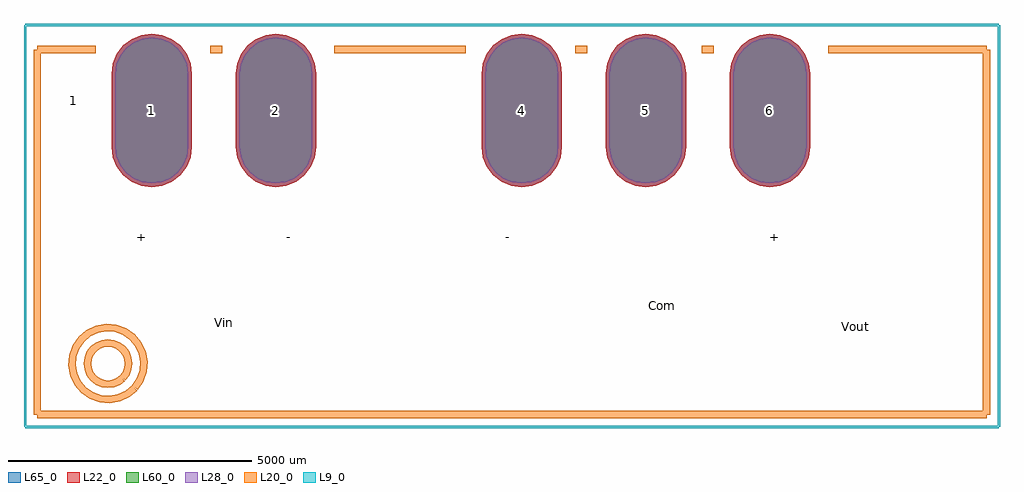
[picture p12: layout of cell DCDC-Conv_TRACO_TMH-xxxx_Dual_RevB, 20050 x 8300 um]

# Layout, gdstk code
import gdstk
lib = gdstk.Library(unit=1e-6, precision=1e-09)
def P(c, l, *ps):  # polygons
    for p in ps: c.add(gdstk.Polygon(p, *l))
L9_0 = (9, 0)
L20_0 = (20, 0)
L22_0 = (22, 0)
L28_0 = (28, 0)
L60_0 = (60, 0)
L65_0 = (65, 0)

dcdc_conv_traco_tmh_xxxx = lib.new_cell('DCDC-Conv_TRACO_TMH-xxxx_Dual_RevB')
P(dcdc_conv_traco_tmh_xxxx, L22_0, [(12700,-1574.87),(12913.673,-1546.739),(13112.785,-1464.265),(13283.766,-1333.066),(13414.965,-1162.085),(13497.439,-962.973),(13525.57,-749.3),(13525.57,749.3),(13497.439,962.973),(13414.965,1162.085),(13283.766,1333.066),(13112.785,1464.265),(12913.673,1546.739),(12700,1574.87),(12486.327,1546.739),(12287.215,1464.265),(12116.234,1333.066),(11985.035,1162.085),(11902.561,962.973),(11874.43,749.3),(11874.43,-749.3),(11902.561,-962.973),(11985.035,-1162.085),(12116.234,-1333.066),(12287.215,-1464.265),(12486.327,-1546.739)],
  [(10149.8,-1574.87),(10363.473,-1546.739),(10562.585,-1464.265),(10733.566,-1333.066),(10864.765,-1162.085),(10947.239,-962.973),(10975.37,-749.3),(10975.37,749.3),(10947.239,962.973),(10864.765,1162.085),(10733.566,1333.066),(10562.585,1464.265),(10363.473,1546.739),(10149.8,1574.87),(9936.127,1546.739),(9737.015,1464.265),(9566.034,1333.066),(9434.835,1162.085),(9352.361,962.973),(9324.23,749.3),(9324.23,-749.3),(9352.361,-962.973),(9434.835,-1162.085),(9566.034,-1333.066),(9737.015,-1464.265),(9936.127,-1546.739)],
  [(7599.68,-1574.87),(7813.353,-1546.739),(8012.465,-1464.265),(8183.446,-1333.066),(8314.645,-1162.085),(8397.119,-962.973),(8425.25,-749.3),(8425.25,749.3),(8397.119,962.973),(8314.645,1162.085),(8183.446,1333.066),(8012.465,1464.265),(7813.353,1546.739),(7599.68,1574.87),(7386.007,1546.739),(7186.895,1464.265),(7015.914,1333.066),(6884.715,1162.085),(6802.241,962.973),(6774.11,749.3),(6774.11,-749.3),(6802.241,-962.973),(6884.715,-1162.085),(7015.914,-1333.066),(7186.895,-1464.265),(7386.007,-1546.739)],
  [(2550.16,-1574.87),(2763.833,-1546.739),(2962.945,-1464.265),(3133.926,-1333.066),(3265.125,-1162.085),(3347.599,-962.973),(3375.73,-749.3),(3375.73,749.3),(3347.599,962.973),(3265.125,1162.085),(3133.926,1333.066),(2962.945,1464.265),(2763.833,1546.739),(2550.16,1574.87),(2336.487,1546.739),(2137.375,1464.265),(1966.394,1333.066),(1835.195,1162.085),(1752.721,962.973),(1724.59,749.3),(1724.59,-749.3),(1752.721,-962.973),(1835.195,-1162.085),(1966.394,-1333.066),(2137.375,-1464.265),(2336.487,-1546.739)],
  [(0,-1574.87),(213.673,-1546.739),(412.785,-1464.265),(583.766,-1333.066),(714.965,-1162.085),(797.439,-962.973),(825.57,-749.3),(825.57,749.3),(797.439,962.973),(714.965,1162.085),(583.766,1333.066),(412.785,1464.265),(213.673,1546.739),(0,1574.87),(-213.673,1546.739),(-412.785,1464.265),(-583.766,1333.066),(-714.965,1162.085),(-797.439,962.973),(-825.57,749.3),(-825.57,-749.3),(-797.439,-962.973),(-714.965,-1162.085),(-583.766,-1333.066),(-412.785,-1464.265),(-213.673,-1546.739)])
P(dcdc_conv_traco_tmh_xxxx, L28_0, [(12700,-1499.87),(12894.262,-1474.295),(13075.285,-1399.313),(13230.733,-1280.033),(13350.013,-1124.585),(13424.995,-943.562),(13450.57,-749.3),(13450.57,749.3),(13424.995,943.562),(13350.013,1124.585),(13230.733,1280.033),(13075.285,1399.313),(12894.262,1474.295),(12700,1499.87),(12505.738,1474.295),(12324.715,1399.313),(12169.267,1280.033),(12049.987,1124.585),(11975.005,943.562),(11949.43,749.3),(11949.43,-749.3),(11975.005,-943.562),(12049.987,-1124.585),(12169.267,-1280.033),(12324.715,-1399.313),(12505.738,-1474.295)],
  [(10149.8,-1499.87),(10344.062,-1474.295),(10525.085,-1399.313),(10680.533,-1280.033),(10799.813,-1124.585),(10874.795,-943.562),(10900.37,-749.3),(10900.37,749.3),(10874.795,943.562),(10799.813,1124.585),(10680.533,1280.033),(10525.085,1399.313),(10344.062,1474.295),(10149.8,1499.87),(9955.538,1474.295),(9774.515,1399.313),(9619.067,1280.033),(9499.787,1124.585),(9424.805,943.562),(9399.23,749.3),(9399.23,-749.3),(9424.805,-943.562),(9499.787,-1124.585),(9619.067,-1280.033),(9774.515,-1399.313),(9955.538,-1474.295)],
  [(7599.68,-1499.87),(7793.942,-1474.295),(7974.965,-1399.313),(8130.413,-1280.033),(8249.693,-1124.585),(8324.675,-943.562),(8350.25,-749.3),(8350.25,749.3),(8324.675,943.562),(8249.693,1124.585),(8130.413,1280.033),(7974.965,1399.313),(7793.942,1474.295),(7599.68,1499.87),(7405.418,1474.295),(7224.395,1399.313),(7068.947,1280.033),(6949.667,1124.585),(6874.685,943.562),(6849.11,749.3),(6849.11,-749.3),(6874.685,-943.562),(6949.667,-1124.585),(7068.947,-1280.033),(7224.395,-1399.313),(7405.418,-1474.295)],
  [(2550.16,-1499.87),(2744.422,-1474.295),(2925.445,-1399.313),(3080.893,-1280.033),(3200.173,-1124.585),(3275.155,-943.562),(3300.73,-749.3),(3300.73,749.3),(3275.155,943.562),(3200.173,1124.585),(3080.893,1280.033),(2925.445,1399.313),(2744.422,1474.295),(2550.16,1499.87),(2355.898,1474.295),(2174.875,1399.313),(2019.427,1280.033),(1900.147,1124.585),(1825.165,943.562),(1799.59,749.3),(1799.59,-749.3),(1825.165,-943.562),(1900.147,-1124.585),(2019.427,-1280.033),(2174.875,-1399.313),(2355.898,-1474.295)],
  [(0,-1499.87),(194.262,-1474.295),(375.285,-1399.313),(530.733,-1280.033),(650.013,-1124.585),(724.995,-943.562),(750.57,-749.3),(750.57,749.3),(724.995,943.562),(650.013,1124.585),(530.733,1280.033),(375.285,1399.313),(194.262,1474.295),(0,1499.87),(-194.262,1474.295),(-375.285,1399.313),(-530.733,1280.033),(-650.013,1124.585),(-724.995,943.562),(-750.57,749.3),(-750.57,-749.3),(-724.995,-943.562),(-650.013,-1124.585),(-530.733,-1280.033),(-375.285,-1399.313),(-194.262,-1474.295)])
P(dcdc_conv_traco_tmh_xxxx, L60_0, [(12700,-1499.87),(12894.262,-1474.295),(13075.285,-1399.313),(13230.733,-1280.033),(13350.013,-1124.585),(13424.995,-943.562),(13450.57,-749.3),(13450.57,749.3),(13424.995,943.562),(13350.013,1124.585),(13230.733,1280.033),(13075.285,1399.313),(12894.262,1474.295),(12700,1499.87),(12505.738,1474.295),(12324.715,1399.313),(12169.267,1280.033),(12049.987,1124.585),(11975.005,943.562),(11949.43,749.3),(11949.43,-749.3),(11975.005,-943.562),(12049.987,-1124.585),(12169.267,-1280.033),(12324.715,-1399.313),(12505.738,-1474.295)],
  [(10149.8,-1499.87),(10344.062,-1474.295),(10525.085,-1399.313),(10680.533,-1280.033),(10799.813,-1124.585),(10874.795,-943.562),(10900.37,-749.3),(10900.37,749.3),(10874.795,943.562),(10799.813,1124.585),(10680.533,1280.033),(10525.085,1399.313),(10344.062,1474.295),(10149.8,1499.87),(9955.538,1474.295),(9774.515,1399.313),(9619.067,1280.033),(9499.787,1124.585),(9424.805,943.562),(9399.23,749.3),(9399.23,-749.3),(9424.805,-943.562),(9499.787,-1124.585),(9619.067,-1280.033),(9774.515,-1399.313),(9955.538,-1474.295)],
  [(7599.68,-1499.87),(7793.942,-1474.295),(7974.965,-1399.313),(8130.413,-1280.033),(8249.693,-1124.585),(8324.675,-943.562),(8350.25,-749.3),(8350.25,749.3),(8324.675,943.562),(8249.693,1124.585),(8130.413,1280.033),(7974.965,1399.313),(7793.942,1474.295),(7599.68,1499.87),(7405.418,1474.295),(7224.395,1399.313),(7068.947,1280.033),(6949.667,1124.585),(6874.685,943.562),(6849.11,749.3),(6849.11,-749.3),(6874.685,-943.562),(6949.667,-1124.585),(7068.947,-1280.033),(7224.395,-1399.313),(7405.418,-1474.295)],
  [(2550.16,-1499.87),(2744.422,-1474.295),(2925.445,-1399.313),(3080.893,-1280.033),(3200.173,-1124.585),(3275.155,-943.562),(3300.73,-749.3),(3300.73,749.3),(3275.155,943.562),(3200.173,1124.585),(3080.893,1280.033),(2925.445,1399.313),(2744.422,1474.295),(2550.16,1499.87),(2355.898,1474.295),(2174.875,1399.313),(2019.427,1280.033),(1900.147,1124.585),(1825.165,943.562),(1799.59,749.3),(1799.59,-749.3),(1825.165,-943.562),(1900.147,-1124.585),(2019.427,-1280.033),(2174.875,-1399.313),(2355.898,-1474.295)],
  [(0,-1499.87),(194.262,-1474.295),(375.285,-1399.313),(530.733,-1280.033),(650.013,-1124.585),(724.995,-943.562),(750.57,-749.3),(750.57,749.3),(724.995,943.562),(650.013,1124.585),(530.733,1280.033),(375.285,1399.313),(194.262,1474.295),(0,1499.87),(-194.262,1474.295),(-375.285,1399.313),(-530.733,1280.033),(-650.013,1124.585),(-724.995,943.562),(-750.57,749.3),(-750.57,-749.3),(-724.995,-943.562),(-650.013,-1124.585),(-530.733,-1280.033),(-375.285,-1399.313),(-194.262,-1474.295)])
P(dcdc_conv_traco_tmh_xxxx, L65_0, [(12700,-1574.87),(12913.673,-1546.739),(13112.785,-1464.265),(13283.766,-1333.066),(13414.965,-1162.085),(13497.439,-962.973),(13525.57,-749.3),(13525.57,749.3),(13497.439,962.973),(13414.965,1162.085),(13283.766,1333.066),(13112.785,1464.265),(12913.673,1546.739),(12700,1574.87),(12486.327,1546.739),(12287.215,1464.265),(12116.234,1333.066),(11985.035,1162.085),(11902.561,962.973),(11874.43,749.3),(11874.43,-749.3),(11902.561,-962.973),(11985.035,-1162.085),(12116.234,-1333.066),(12287.215,-1464.265),(12486.327,-1546.739)],
  [(10149.8,-1574.87),(10363.473,-1546.739),(10562.585,-1464.265),(10733.566,-1333.066),(10864.765,-1162.085),(10947.239,-962.973),(10975.37,-749.3),(10975.37,749.3),(10947.239,962.973),(10864.765,1162.085),(10733.566,1333.066),(10562.585,1464.265),(10363.473,1546.739),(10149.8,1574.87),(9936.127,1546.739),(9737.015,1464.265),(9566.034,1333.066),(9434.835,1162.085),(9352.361,962.973),(9324.23,749.3),(9324.23,-749.3),(9352.361,-962.973),(9434.835,-1162.085),(9566.034,-1333.066),(9737.015,-1464.265),(9936.127,-1546.739)],
  [(7599.68,-1574.87),(7813.353,-1546.739),(8012.465,-1464.265),(8183.446,-1333.066),(8314.645,-1162.085),(8397.119,-962.973),(8425.25,-749.3),(8425.25,749.3),(8397.119,962.973),(8314.645,1162.085),(8183.446,1333.066),(8012.465,1464.265),(7813.353,1546.739),(7599.68,1574.87),(7386.007,1546.739),(7186.895,1464.265),(7015.914,1333.066),(6884.715,1162.085),(6802.241,962.973),(6774.11,749.3),(6774.11,-749.3),(6802.241,-962.973),(6884.715,-1162.085),(7015.914,-1333.066),(7186.895,-1464.265),(7386.007,-1546.739)],
  [(2550.16,-1574.87),(2763.833,-1546.739),(2962.945,-1464.265),(3133.926,-1333.066),(3265.125,-1162.085),(3347.599,-962.973),(3375.73,-749.3),(3375.73,749.3),(3347.599,962.973),(3265.125,1162.085),(3133.926,1333.066),(2962.945,1464.265),(2763.833,1546.739),(2550.16,1574.87),(2336.487,1546.739),(2137.375,1464.265),(1966.394,1333.066),(1835.195,1162.085),(1752.721,962.973),(1724.59,749.3),(1724.59,-749.3),(1752.721,-962.973),(1835.195,-1162.085),(1966.394,-1333.066),(2137.375,-1464.265),(2336.487,-1546.739)],
  [(0,-1574.87),(213.673,-1546.739),(412.785,-1464.265),(583.766,-1333.066),(714.965,-1162.085),(797.439,-962.973),(825.57,-749.3),(825.57,749.3),(797.439,962.973),(714.965,1162.085),(583.766,1333.066),(412.785,1464.265),(213.673,1546.739),(0,1574.87),(-213.673,1546.739),(-412.785,1464.265),(-583.766,1333.066),(-714.965,1162.085),(-797.439,962.973),(-825.57,749.3),(-825.57,-749.3),(-797.439,-962.973),(-714.965,-1162.085),(-583.766,-1333.066),(-412.785,-1464.265),(-213.673,-1546.739)])
dcdc_conv_traco_tmh_xxxx.add(gdstk.FlexPath([(-2352.04,1249.68),(-2352.04,-6248.4)], 149.998, ends="flush", simple_path=True, layer=20, datatype=0))  # L20_0
dcdc_conv_traco_tmh_xxxx.add(gdstk.FlexPath([(17150.1,-6248.4),(17150.1,1249.68)], 149.998, ends="flush", simple_path=True, layer=20, datatype=0))  # L20_0
dcdc_conv_traco_tmh_xxxx.add(gdstk.FlexPath([(-2352.04,-6248.4),(17150.1,-6248.4)], 149.998, ends="flush", simple_path=True, layer=20, datatype=0))  # L20_0
dcdc_conv_traco_tmh_xxxx.add(gdstk.FlexPath([(17150.1,1249.68),(13898.9,1249.68)], 149.998, ends="flush", simple_path=True, layer=20, datatype=0))  # L20_0
dcdc_conv_traco_tmh_xxxx.add(gdstk.FlexPath([(11549.4,1249.68),(11297.9,1249.68)], 149.998, ends="flush", simple_path=True, layer=20, datatype=0))  # L20_0
dcdc_conv_traco_tmh_xxxx.add(gdstk.FlexPath([(8948.42,1249.68),(8699.5,1249.68)], 149.998, ends="flush", simple_path=True, layer=20, datatype=0))  # L20_0
dcdc_conv_traco_tmh_xxxx.add(gdstk.FlexPath([(6449.06,1249.68),(3749.04,1249.68)], 149.998, ends="flush", simple_path=True, layer=20, datatype=0))  # L20_0
dcdc_conv_traco_tmh_xxxx.add(gdstk.FlexPath([(1447.8,1249.68),(1198.88,1249.68)], 149.998, ends="flush", simple_path=True, layer=20, datatype=0))  # L20_0
dcdc_conv_traco_tmh_xxxx.add(gdstk.FlexPath([(-1150.62,1249.68),(-2352.04,1249.68)], 149.998, ends="flush", simple_path=True, layer=20, datatype=0))  # L20_0
dcdc_conv_traco_tmh_xxxx.add(gdstk.FlexPath([(-2600,-6500),(17400,-6500)], 50, ends="flush", simple_path=True, layer=9, datatype=0))  # L9_0
dcdc_conv_traco_tmh_xxxx.add(gdstk.FlexPath([(-2600,1750),(17400,1750)], 50, ends="flush", simple_path=True, layer=9, datatype=0))  # L9_0
dcdc_conv_traco_tmh_xxxx.add(gdstk.FlexPath([(17400,1750),(17400,-6500)], 50, ends="flush", simple_path=True, layer=9, datatype=0))  # L9_0
dcdc_conv_traco_tmh_xxxx.add(gdstk.FlexPath([(-2600,1750),(-2600,-6500)], 50, ends="flush", simple_path=True, layer=9, datatype=0))  # L9_0
dcdc_conv_traco_tmh_xxxx.add(gdstk.FlexPath([(-350.86,-5698.8),(-240.704,-5539.838),(-175.444,-5357.782),(-159.527,-5165.039),(-194.038,-4974.744),(-276.625,-4799.865),(-401.66,-4652.32),(-560.622,-4542.164),(-742.678,-4476.904),(-935.421,-4460.987),(-1125.716,-4495.498),(-1300.595,-4578.085),(-1448.14,-4703.12),(-1558.296,-4862.082),(-1623.556,-5044.138),(-1639.473,-5236.881),(-1604.962,-5427.176),(-1522.375,-5602.055),(-1397.34,-5749.6),(-1238.378,-5859.756),(-1056.322,-5925.016),(-863.579,-5940.933),(-673.284,-5906.422),(-498.405,-5823.835),(-350.86,-5698.8)], 149.998, ends="flush", simple_path=True, layer=20, datatype=0))  # L20_0
dcdc_conv_traco_tmh_xxxx.add(gdstk.FlexPath([(-599.78,-5500.68),(-532.419,-5412.894),(-490.075,-5310.665),(-475.632,-5200.96),(-490.075,-5091.255),(-532.419,-4989.026),(-599.78,-4901.24),(-687.566,-4833.879),(-789.795,-4791.535),(-899.5,-4777.092),(-1009.205,-4791.535),(-1111.434,-4833.879),(-1199.22,-4901.24),(-1266.581,-4989.026),(-1308.925,-5091.255),(-1323.368,-5200.96),(-1308.925,-5310.665),(-1266.581,-5412.894),(-1199.22,-5500.68),(-1111.434,-5568.041),(-1009.205,-5610.385),(-899.5,-5624.828),(-789.795,-5610.385),(-687.566,-5568.041),(-599.78,-5500.68)], 149.998, ends="flush", simple_path=True, layer=20, datatype=0))  # L20_0
dcdc_conv_traco_tmh_xxxx.add(gdstk.Label('6', (12700,0), layer=28, texttype=0))
dcdc_conv_traco_tmh_xxxx.add(gdstk.Label('5', (10149.8,0), layer=28, texttype=0))
dcdc_conv_traco_tmh_xxxx.add(gdstk.Label('4', (7599.68,0), layer=28, texttype=0))
dcdc_conv_traco_tmh_xxxx.add(gdstk.Label('2', (2550.16,0), layer=28, texttype=0))
dcdc_conv_traco_tmh_xxxx.add(gdstk.Label('1', (0,0), layer=28, texttype=0))
dcdc_conv_traco_tmh_xxxx.add(gdstk.Label('+', (-201,-2600), layer=9, texttype=0))
dcdc_conv_traco_tmh_xxxx.add(gdstk.Label('-', (2798.74,-2600), layer=9, texttype=0))
dcdc_conv_traco_tmh_xxxx.add(gdstk.Label('-', (7299.62,-2600), layer=9, texttype=0))
dcdc_conv_traco_tmh_xxxx.add(gdstk.Label('+', (12801.26,-2600), layer=9, texttype=0))
dcdc_conv_traco_tmh_xxxx.add(gdstk.Label('Com', (10500.02,-3999.54), layer=9, texttype=0))
dcdc_conv_traco_tmh_xxxx.add(gdstk.Label('Vin', (1500.8,-4350.06), layer=9, texttype=0))
dcdc_conv_traco_tmh_xxxx.add(gdstk.Label('Vout', (14449.72,-4449.12), layer=9, texttype=0))
dcdc_conv_traco_tmh_xxxx.add(gdstk.Label('1', (-1600,200), layer=9, texttype=0))
dcdc_conv_traco_tmh_xxxx.add(gdstk.Label('type', (0,3250), layer=9, texttype=0))
dcdc_conv_traco_tmh_xxxx.add(gdstk.Label('devicename', (0,5250), layer=9, texttype=0))

lib.write_gds('DCDC-Conv_TRACO_TMH-xxxx_Dual_RevB.gds')
